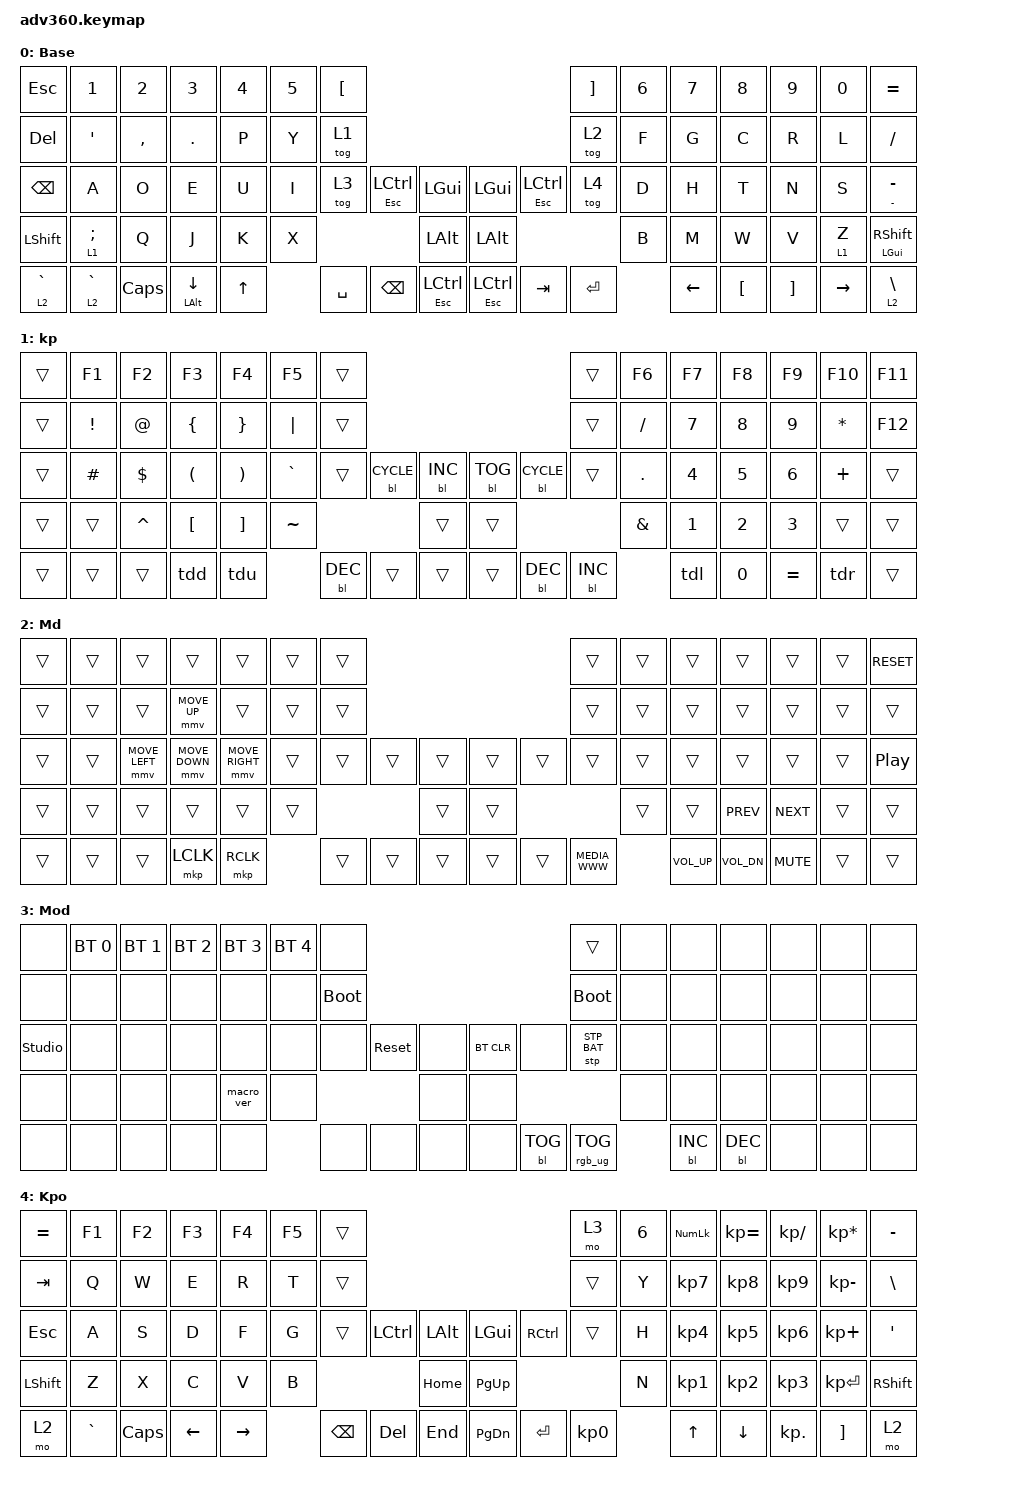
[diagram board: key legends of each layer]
#include <dt-bindings/zmk/stp.h>
#include <behaviors.dtsi>
#include <dt-bindings/zmk/backlight.h>
#include <dt-bindings/zmk/bt.h>
#include <dt-bindings/zmk/keys.h>
#include <dt-bindings/zmk/pointing.h>
#include <dt-bindings/zmk/rgb.h>

/ {
    behaviors {
        #include "macros.dtsi"
      #include "version.dtsi"

        hm: homerow_mods {
            compatible = "zmk,behavior-hold-tap";
            label = "HOMEROW_MODS";
            #binding-cells = <2>;
            tapping-term-ms = <200>;
            quick_tap_ms = <175>;
            flavor = "tap-preferred";
            bindings = <&kp>, <&kp>;
        };

        tdu: tdu {
            compatible = "zmk,behavior-tap-dance";
            label = "Tap Dance Up";
            #binding-cells = <0>;
            bindings = <&kp UP>, <&kp PAGE_UP>;
        };

        tdd: tdd {
            compatible = "zmk,behavior-tap-dance";
            label = "Tap Dance Down";
            #binding-cells = <0>;
            bindings = <&kp DOWN>, <&kp PAGE_DOWN>;
        };

        tdl: tdl {
            compatible = "zmk,behavior-tap-dance";
            label = "TapDance Left";
            #binding-cells = <0>;
            bindings = <&kp LEFT>, <&kp HOME>;
        };

        tdr: tdr {
            compatible = "zmk,behavior-tap-dance";
            label = "TapDance Right";
            #binding-cells = <0>;
            bindings = <&kp RIGHT>, <&kp END>;
        };

        htkl: htkl {
            compatible = "zmk,behavior-hold-tap";
            label = "HTKL";
            bindings = <&mo>, <&kp>;

            #binding-cells = <2>;
            tapping-term-ms = <200>;
        };

        htkk: htkk {
            compatible = "zmk,behavior-hold-tap";
            label = "HTKK";
            bindings = <&kp>, <&kp>;

            #binding-cells = <2>;
            tapping-term-ms = <200>;
        };
    };

    keymap {
        compatible = "zmk,keymap";

        default_layer {
            display-name = "Base";
            bindings = <
&kp ESC        &kp N1             &kp N2     &kp N3           &kp N4  &kp N5  &kp LEFT_BRACKET                                                                          &kp RIGHT_BRACKET  &kp N6  &kp N7    &kp N8            &kp N9             &kp N0     &kp EQUAL
&kp DEL        &kp SINGLE_QUOTE   &kp COMMA  &kp PERIOD       &kp P   &kp Y   &tog 1                                                                                    &tog 2             &kp F   &kp G     &kp C             &kp R              &kp L      &kp SLASH
&kp BACKSPACE  &kp A              &kp O      &kp E            &kp U   &kp I   &tog 3            &htkk ESC LCTRL  &kp LGUI             &kp LGUI         &htkk ESC LCTRL  &tog 4             &kp D   &kp H     &kp T             &kp N              &kp S      &mt MINUS MINUS
&kp LSHFT      &htkl 1 SEMICOLON  &kp Q      &kp J            &kp K   &kp X                                      &kp LALT             &kp LALT                                             &kp B   &kp M     &kp W             &kp V              &htkl 1 Z  &mt LGUI RSHFT
&htkl 2 GRAVE  &htkl 2 GRAVE      &kp CAPS   &htkk LALT DOWN  &kp UP          &kp SPACE         &kp BACKSPACE    &htkk ESC LCTRL      &htkk ESC LCTRL  &kp TAB          &kp ENTER                  &kp LEFT  &kp LEFT_BRACKET  &kp RIGHT_BRACKET  &kp RIGHT  &htkl 2 BSLH
            >;
        };

        keypad {
            display-name = "kp";
            bindings = <
&trans  &kp F1           &kp F2     &kp F3    &kp F4    &kp F5     &trans                                                              &trans      &kp F6    &kp F7  &kp F8  &kp F9     &kp F10    &kp F11
&trans  &kp EXCLAMATION  &kp AT     &kp LBRC  &kp RBRC  &kp PIPE   &trans                                                              &trans      &kp FSLH  &kp N7  &kp N8  &kp N9     &kp ASTRK  &kp F12
&trans  &kp HASH         &kp DLLR   &kp LPAR  &kp RPAR  &kp GRAVE  &trans      &bl BL_CYCLE  &bl BL_INC      &bl BL_TOG  &bl BL_CYCLE  &trans      &kp DOT   &kp N4  &kp N5  &kp N6     &kp PLUS   &trans
&trans  &trans           &kp CARET  &kp LBKT  &kp RBKT  &kp TILDE                            &trans          &trans                                &kp AMPS  &kp N1  &kp N2  &kp N3     &trans     &trans
&trans  &trans           &trans     &tdd      &tdu                 &bl BL_DEC  &trans        &trans          &trans      &bl BL_DEC    &bl BL_INC            &tdl    &kp N0  &kp EQUAL  &tdr       &trans
            >;
        };

        media {
            display-name = "Md";
            bindings = <
&trans  &trans  &trans          &trans          &trans           &trans  &trans                                      &trans           &trans  &trans        &trans        &trans      &trans  &kp C_RESET
&trans  &trans  &trans          &mmv MOVE_UP    &trans           &trans  &trans                                      &trans           &trans  &trans        &trans        &trans      &trans  &trans
&trans  &trans  &mmv MOVE_LEFT  &mmv MOVE_DOWN  &mmv MOVE_RIGHT  &trans  &trans  &trans  &trans      &trans  &trans  &trans           &trans  &trans        &trans        &trans      &trans  &kp C_PLAY_PAUSE
&trans  &trans  &trans          &trans          &trans           &trans                  &trans      &trans                           &trans  &trans        &kp C_PREV    &kp C_NEXT  &trans  &trans
&trans  &trans  &trans          &mkp LCLK       &mkp RCLK                &trans  &trans  &trans      &trans  &trans  &kp C_MEDIA_WWW          &kp C_VOL_UP  &kp C_VOL_DN  &kp C_MUTE  &trans  &trans
            >;
        };

        mod {
            display-name = "Mod";
            bindings = <
&none           &bt BT_SEL 0  &bt BT_SEL 1  &bt BT_SEL 2  &bt BT_SEL 3  &bt BT_SEL 4  &none                                                       &trans           &none  &none       &none       &none  &none  &none
&none           &none         &none         &none         &none         &none         &bootloader                                                 &bootloader      &none  &none       &none       &none  &none  &none
&studio_unlock  &none         &none         &none         &none         &none         &none        &sys_reset  &none      &bt BT_CLR  &none       &stp STP_BAT     &none  &none       &none       &none  &none  &none
&none           &none         &none         &none         &macro_ver    &none                                  &none      &none                                    &none  &none       &none       &none  &none  &none
&none           &none         &none         &none         &none                       &none        &none       &none      &none       &bl BL_TOG  &rgb_ug RGB_TOG         &bl BL_INC  &bl BL_DEC  &none  &none  &none
            >;
        };

        keypad_o {
            display-name = "Kpo";
            bindings = <
&kp EQUAL  &kp F1     &kp F2    &kp F3    &kp F4     &kp F5  &trans                                                   &mo 3      &kp N6  &kp KP_NUM  &kp KP_EQUAL  &kp KP_DIVIDE  &kp KP_MULTIPLY  &kp MINUS
&kp TAB    &kp Q      &kp W     &kp E     &kp R      &kp T   &trans                                                   &trans     &kp Y   &kp KP_N7   &kp KP_N8     &kp KP_N9      &kp KP_MINUS     &kp BSLH
&kp ESC    &kp A      &kp S     &kp D     &kp F      &kp G   &trans    &kp LCTRL  &kp LALT      &kp LGUI   &kp RCTRL  &trans     &kp H   &kp KP_N4   &kp KP_N5     &kp KP_N6      &kp KP_PLUS      &kp SQT
&kp LSHFT  &kp Z      &kp X     &kp C     &kp V      &kp B                        &kp HOME      &kp PG_UP                        &kp N   &kp KP_N1   &kp KP_N2     &kp KP_N3      &kp KP_ENTER     &kp RSHFT
&mo 2      &kp GRAVE  &kp CAPS  &kp LEFT  &kp RIGHT          &kp BSPC  &kp DEL    &kp END       &kp PG_DN  &kp ENTER  &kp KP_N0          &kp UP      &kp DOWN      &kp KP_DOT     &kp RBKT         &mo 2
            >;
        };

        extra1 {
            display-name = "Red";
            status = "reserved";
        };

        extra2 {
            display-name = "Purple";
            status = "reserved";
        };

        extra3 {
            display-name = "Cyan";
            status = "reserved";
        };

        extra4 {
            display-name = "Yellow";
            status = "reserved";
        };
    };
};
